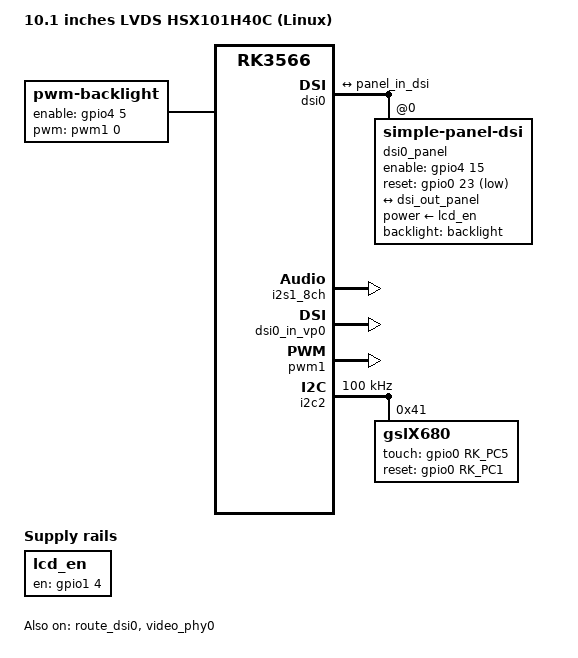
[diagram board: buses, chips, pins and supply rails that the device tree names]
// SPDX-License-Identifier: (GPL-2.0+ OR MIT)
/*
 * Copyright (c) 2020 Rockchip Electronics Co., Ltd.
 *
 */


 / {
	model = "10.1 inches LVDS HSX101H40C (Linux)";
	compatible = "rockchip,mipi-to-lvds-HSX101H40C", "rockchip,rk3566";
    
	 backlight:backlight {
		status = "okay";
		compatible = "pwm-backlight";
		pwms = <&pwm1 0 25000 0>;
		brightness-levels = <
			  0  20  20  21  21  22  22  23
			 23  24  24  25  25  26  26  27
			 27  28  28  29  29  30  30  31
			 31  32  32  33  33  34  34  35
			 35  36  36  37  37  38  38  39
			 40  41  42  43  44  45  46  47
			 48  49  50  51  52  53  54  55
			 56  57  58  59  60  61  62  63
			 64  65  66  67  68  69  70  71
			 72  73  74  75  76  77  78  79
			 80  81  82  83  84  85  86  87
			 88  89  90  91  92  93  94  95
			 96  97  98  99 100 101 102 103
			104 105 106 107 108 109 110 111
			112 113 114 115 116 117 118 119
			120 121 122 123 124 125 126 127
			128 129 130 131 132 133 134 135
			136 137 138 139 140 141 142 143
			144 145 146 147 148 149 150 151
			152 153 154 155 156 157 158 159
			160 161 162 163 164 165 166 167
			168 169 170 171 172 173 174 175
			176 177 178 179 180 181 182 183
			184 185 186 187 188 189 190 191
			192 193 194 195 196 197 198 199
			200 201 202 203 204 205 206 207
			208 209 210 211 212 213 214 215
			216 217 218 219 220 221 222 223
			224 225 226 227 228 229 230 231
			232 233 234 235 236 237 238 239
			240 241 242 243 244 245 246 247
			248 249 250 251 252 253 254 255
		>;
		default-brightness-level = <10>;
		enable-gpios = <&gpio4 5 GPIO_ACTIVE_HIGH>;
	};


    lcd_en:lcd-en-regulator {                                                                                                                                                          
        compatible = "regulator-fixed";                                                                                                                                                
        enable-active-high;                                                                                                                                                            
        gpio = <&gpio1 4 GPIO_ACTIVE_HIGH>;                                                                                                                                            
        pinctrl-names = "default";                                                                                                                                                     
        pinctrl-0 = <&lcd_panel_lcd_en>;                                                                                                                                               
        regulator-name = "lcd_en";                                                                                                                                                     
        regulator-always-on;                                                                                                                                                           
    };

};

&vcc3v3_lcd0_n{
    status = "disabled";
};

&pinctrl {
    lcd-panel {                                                                                                                                                                        
        lcd_panel_lcd_en:lcd-panel-lcd-en {                     
                rockchip,pins = <1 4 RK_FUNC_GPIO &pcfg_pull_down>;                                                                                                                        
        };                                                                                                                                                                             
    };
};

&dsi0 {
	status = "okay";
	rockchip,lane-rate = <864>;  //lvds_clock*6*2
	dsi0_panel: panel@0 {
		compatible ="simple-panel-dsi";
        phy-txrequestclkhs = <1>;
		reg = <0>;

		backlight = <&backlight>;

        enable-gpios = <&gpio4 15 GPIO_ACTIVE_HIGH>;         //lcd en
        reset-gpios = <&gpio0 23 GPIO_ACTIVE_LOW>;        //tc358775 reset
        power-supply = <&lcd_en>;

		dsi,flags = <(MIPI_DSI_MODE_VIDEO | MIPI_DSI_MODE_VIDEO_BURST | MIPI_DSI_MODE_LPM | MIPI_DSI_MODE_EOT_PACKET)>;
		dsi,format = <MIPI_DSI_FMT_RGB888>;

		dsi,lanes = <4>;
		dsi,channel = <0>;

		enable-delay-ms = <35>;
		prepare-delay-ms = <6>;

		unprepare-delay-ms = <0>;
		disable-delay-ms = <20>;

		size,width = <120>;
		size,height = <170>;

		status = "okay";
		panel-init-sequence = [
				29 02 06 3C 01 09 00 07 00
				29 02 06 14 01 06 00 00 00
				29 02 06 64 01 0B 00 00 00
				29 02 06 68 01 0B 00 00 00
				29 02 06 6C 01 0B 00 00 00
				29 02 06 70 01 0B 00 00 00
				29 02 06 34 01 1F 00 00 00
				29 02 06 10 02 1F 00 00 00
				29 02 06 04 01 01 00 00 00
				29 02 06 04 02 01 00 00 00
				29 02 06 50 04 30 01 F0 03  //framesync mode

				29 02 06 54 04 0A 00 32 00   //hsync_len = 0x0A    hback_porch =0x32
				29 02 06 58 04 20 03 32 00   //hactive   = 0x320   hfront_porch=0x32
				29 02 06 5C 04 12 00 0A 00   //vsync_len = 0x12    vback_porch =0x0A
				29 02 06 60 04 00 05 0A 00   //vactive   = 0x500   vfront_porch=0x0A
				29 02 06 64 04 01 00 00 00
				29 02 06 A0 04 06 80 44 00

				29 02 06 A0 04 06 80 04 00
				29 02 06 04 05 04 00 00 00
				29 02 06 80 04 00 01 02 03
				29 02 06 84 04 04 07 05 08
				29 02 06 88 04 09 0A 0E 0F
				29 02 06 8C 04 0B 0C 0D 10
				29 02 06 90 04 16 17 11 12
				29 02 06 94 04 13 14 15 1B
				29 02 06 98 04 18 19 1A 06

				29 02 06 9C 04 31 04 00 00
		];

		panel-exit-sequence = [
            05 05 01 28
            05 78 01 10
		];
		disp_timings0: display-timings {
            native-mode = <&timing0>;
            timing0: timing0 {
			   clock-frequency = <72000000>; //@60
			   hactive = <800>;
			   vactive = <1280>;
			   hsync-len = <10>;   //20, 50
			   hback-porch = <50>; //50, 56
			   hfront-porch = <50>;//50, 30 //1580
			   vsync-len = <18>;
			   vback-porch = <10>;
			   vfront-porch = <10>;
			   hsync-active = <0>;
			   vsync-active = <0>;
			   de-active = <0>;
			   pixelclk-active = <0>;
			};

         
        };

		ports {
			#address-cells = <1>;
			#size-cells = <0>;

			port@0 {
				reg = <0>;
				panel_in_dsi: endpoint {
					remote-endpoint = <&dsi_out_panel>;
				};
			};
		};
	};

	ports {
		#address-cells = <1>;
		#size-cells = <0>;

		port@1 {
			reg = <1>;
			dsi_out_panel: endpoint {
				remote-endpoint = <&panel_in_dsi>;
			};
		};
	};

};

// disabled some multiplex gpios
&pwm0{
	status = "disabled";
};
&uart0{
	status = "disabled";
};
&i2s1_8ch{
	status = "okay";
};
&pdm{
	status = "disabled";
};
&spdif_8ch{
	status = "disabled";
};
&uart4{
	status = "disabled";
};

&i2s2_2ch{
	status = "disabled";
};

//disabled dsi1 
&dsi1{
    status = "disabled";
};
&mipi_dphy1 {
    status = "disabled";
};
&dsi0_in_vp0 {
    status = "disabled";
};
&dsi0_in_vp1 {
    status = "disabled";
};

//open dsi0 main
&route_dsi0 {
    status = "okay";
};
&video_phy0 {
    status = "okay";
};
&dsi0_in_vp0 {
    status = "okay";
};
&dsi0_in_vp1 {
    status = "disabled";
};

//disabled hdmi extend
&hdmi{
    status = "disabled";
};
&hdmi_in_vp1{
    status = "disabled";
};
&hdmi_in_vp0{
    status = "disabled";
};

// open backlight
&pwm1{
    status = "okay";
};

//open gslx680 tp
&i2c2 {
    status = "okay";
    clock-frequency = <100000>;
    gslx680: gslx680@41 {
        compatible = "gslX680";
        reg = <0x41>;
        screen_max_x = <800>;
        screen_max_y = <1280>;
        touch-gpio = <&gpio0 RK_PC5 IRQ_TYPE_LEVEL_LOW>;
        reset-gpio = <&gpio0 RK_PC1 GPIO_ACTIVE_HIGH>;
        flip-x = <1>;
        flip-y = <0>;
        swap-xy = <0>;
        gsl,fw = <1>;
    };
};

&vcc3v3_lcd1_n{
    status = "disabled";
};
